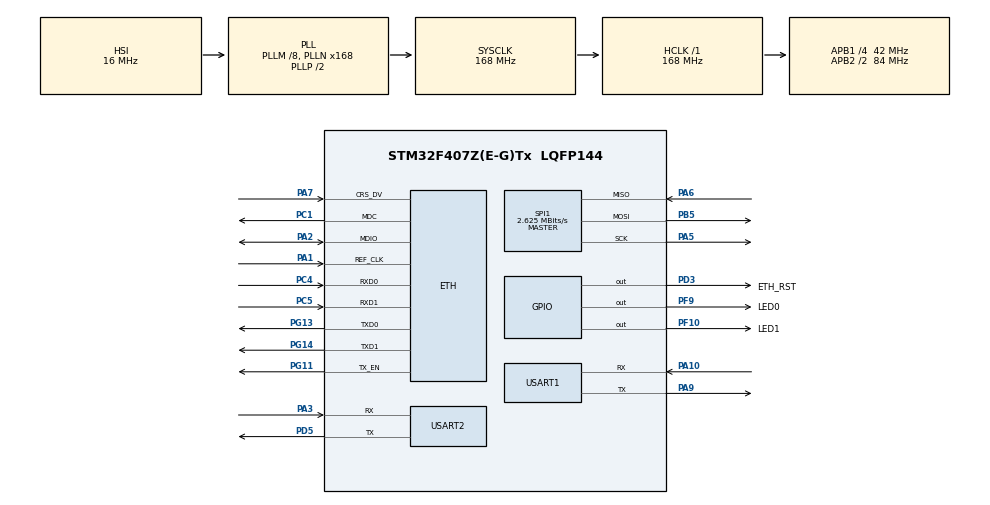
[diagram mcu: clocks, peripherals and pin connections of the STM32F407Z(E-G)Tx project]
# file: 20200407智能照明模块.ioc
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Dma.Request0=USART1_RX
Dma.USART1_RX.0.Direction=DMA_PERIPH_TO_MEMORY
Dma.USART1_RX.0.FIFOMode=DMA_FIFOMODE_DISABLE
Dma.USART1_RX.0.Instance=DMA2_Stream2
Dma.USART1_RX.0.MemDataAlignment=DMA_MDATAALIGN_BYTE
Dma.USART1_RX.0.MemInc=DMA_MINC_ENABLE
Dma.USART1_RX.0.Mode=DMA_NORMAL
Dma.USART1_RX.0.PeriphDataAlignment=DMA_PDATAALIGN_BYTE
Dma.USART1_RX.0.PeriphInc=DMA_PINC_DISABLE
Dma.USART1_RX.0.Priority=DMA_PRIORITY_MEDIUM
ETH.MediaInterface=ETH_MEDIA_INTERFACE_RMII
ETH.PHY_Name_RMII=LAN8742A_PHY_ADDRESS
ETH.PHY_SR=31
ETH.PhyAddress=0
FREERTOS.Tasks01=defaultTask,0,128,StartDefaultTask,Default,NULL
FREERTOS.configMAX_PRIORITIES=32
FREERTOS.configMINIMAL_STACK_SIZE=64
FREERTOS.configTOTAL_HEAP_SIZE=46080
FREERTOS.configUSE_TIMERS=1
IWDG.Prescaler=IWDG_PRESCALER_256
LWIP.GATEWAY_ADDRESS=192.168.001.001
LWIP.IP_ADDRESS=192.168.001.010
LWIP.LWIP_DHCP=0
LWIP.NETMASK_ADDRESS=255.255.255.000
LWIP.TCP_QUEUE_OOSEQ=0
LWIP.Version=v2.0.3_Cube
Mcu.Family=STM32F4
Mcu.Name=STM32F407Z(E-G)Tx
Mcu.Package=LQFP144
NVIC.DMA2_Stream2_IRQn=true\:5\:0\:false\:false\:true\:true\:false\:true
NVIC.ETH_IRQn=true\:5\:0\:false\:false\:true\:true\:true\:true
NVIC.PriorityGroup=NVIC_PRIORITYGROUP_4
NVIC.USART1_IRQn=true\:5\:0\:true\:false\:true\:true\:true\:true
NVIC.USART2_IRQn=true\:5\:0\:true\:false\:true\:true\:true\:true
PA1.Mode=RMII
PA1.Signal=ETH_REF_CLK
PA10.Mode=Asynchronous
PA10.Signal=USART1_RX
PA13.Mode=Serial_Wire
PA13.Signal=SYS_JTMS-SWDIO
PA14.Mode=Serial_Wire
PA14.Signal=SYS_JTCK-SWCLK
PA2.Mode=RMII
PA2.Signal=ETH_MDIO
PA3.Mode=Asynchronous
PA3.Signal=USART2_RX
PA5.Mode=Full_Duplex_Master
PA5.Signal=SPI1_SCK
PA6.Mode=Full_Duplex_Master
PA6.Signal=SPI1_MISO
PA7.Mode=RMII
PA7.Signal=ETH_CRS_DV
PA9.Mode=Asynchronous
PA9.Signal=USART1_TX
PB5.Mode=Full_Duplex_Master
PB5.Signal=SPI1_MOSI
PC1.Mode=RMII
PC1.Signal=ETH_MDC
PC4.Mode=RMII
PC4.Signal=ETH_RXD0
PC5.Mode=RMII
PC5.Signal=ETH_RXD1
PD3.GPIO_Label=ETH_RST
PD3.Signal=GPIO_Output
PD5.Mode=Asynchronous
PD5.Signal=USART2_TX
PF10.GPIO_Label=LED1
PF10.PinState=GPIO_PIN_SET
PF10.Signal=GPIO_Output
PF9.GPIO_Label=LED0
PF9.PinState=GPIO_PIN_SET
PF9.Signal=GPIO_Output
PG11.Mode=RMII
PG11.Signal=ETH_TX_EN
PG13.Mode=RMII
PG13.Signal=ETH_TXD0
PG14.Mode=RMII
PG14.Signal=ETH_TXD1
ProjectManager.HeapSize=0x200
ProjectManager.StackSize=0x400
ProjectManager.TargetToolchain=TrueSTUDIO
RCC.48MHZClocksFreq_Value=84000000
RCC.AHBFreq_Value=168000000
RCC.APB1CLKDivider=RCC_HCLK_DIV4
RCC.APB1Freq_Value=42000000
RCC.APB1TimFreq_Value=84000000
RCC.APB2CLKDivider=RCC_HCLK_DIV2
RCC.APB2Freq_Value=84000000
RCC.APB2TimFreq_Value=168000000
RCC.CortexFreq_Value=168000000
RCC.HCLKFreq_Value=168000000
RCC.HSE_VALUE=25000000
RCC.HSI_VALUE=16000000
RCC.LSE_VALUE=32768
RCC.PLLM=8
RCC.PLLN=168
RCC.RCC_MCO1Source=RCC_MCO1SOURCE_PLLCLK
RCC.RCC_MCODiv1=RCC_MCODIV_2
RCC.SYSCLKFreq_VALUE=168000000
RCC.SYSCLKSource=RCC_SYSCLKSOURCE_PLLCLK
RCC.VCOOutputFreq_Value=336000000
SPI1.BaudRatePrescaler=SPI_BAUDRATEPRESCALER_32
SPI1.CLKPhase=SPI_PHASE_2EDGE
SPI1.CalculateBaudRate=2.625 MBits/s
SPI1.Direction=SPI_DIRECTION_2LINES
SPI1.Mode=SPI_MODE_MASTER
SPI1.VirtualType=VM_MASTER
TIM4.AutoReloadPreload=TIM_AUTORELOAD_PRELOAD_ENABLE
TIM4.Period=1
TIM4.Prescaler=167
TIM5.Prescaler=167
USART1.VirtualMode=VM_ASYNC
USART2.VirtualMode=VM_ASYNC
VP_FREERTOS_VS_CMSIS_V1.Mode=CMSIS_V1
VP_IWDG_VS_IWDG.Mode=IWDG_Activate
VP_LWIP_VS_Enabled.Mode=Enabled
VP_RTC_VS_RTC_Activate.Mode=RTC_Enabled
VP_TIM3_VS_ClockSourceINT.Mode=Internal
VP_TIM4_VS_ClockSourceINT.Mode=Internal
VP_TIM5_VS_ClockSourceINT.Mode=Internal
board=custom

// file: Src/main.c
/* USER CODE BEGIN Header */
/**
  ******************************************************************************
  * @file           : main.c
  * @brief          : Main program body
  ******************************************************************************
  * @attention
  *
  * <h2><center>&copy; Copyright (c) 2020 STMicroelectronics.
  * All rights reserved.</center></h2>
  *
  * This software component is licensed by ST under Ultimate Liberty license
  * SLA0044, the "License"; You may not use this file except in compliance with
  * the License. You may obtain a copy of the License at:
  *                             www.st.com/SLA0044
  *
  ******************************************************************************
  */
/* USER CODE END Header */

#include "main.h"
#include "cmsis_os.h"
#include "dma.h"
#include "iwdg.h"
#include "lwip.h"
#include "rtc.h"
#include "spi.h"
#include "tim.h"
#include "usart.h"
#include "gpio.h"

/* USER CODE BEGIN Includes */
#include "include.h"
/* USER CODE END Includes */

/* USER CODE BEGIN PV */
osThreadId StartTaskHandle;
/* USER CODE END PV */

void SystemClock_Config(void);
void MX_FREERTOS_Init(void);
/* USER CODE BEGIN PFP */
void StartTask(void *pvParameters);   //初始化任务
/* USER CODE END PFP */

int main(void)
{

  /* MCU Configuration--------------------------------------------------------*/

  /* Reset of all peripherals, Initializes the Flash interface and the Systick. */
  HAL_Init();

  /* Configure the system clock */
  SystemClock_Config();

  /* Initialize all configured peripherals */
  MX_GPIO_Init();
  MX_DMA_Init();
  MX_IWDG_Init();
  MX_RTC_Init();
  MX_TIM3_Init();
  MX_TIM4_Init();
  MX_TIM5_Init();
  MX_USART1_UART_Init();
  MX_USART2_UART_Init();
  MX_SPI1_Init();
  /* USER CODE BEGIN 2 */
  printf("FFT测试!\r\n");
  printf("FFT测试!\r\n");
  printf("FFT测试!\r\n");

  usmart_dev.init(83);
  fnDl645Fft_init();
  delay_init();

//  HAL_UART_Receive_IT(&huart1, (uint8_t *)aRxBuffer, RXBUFFERSIZE);//该函数会开启接收中断：标志位UART_IT_RXNE，并且设置接收缓冲以及接收缓冲接收最大数据量
  /* USER CODE END 2 */

  /* Call init function for freertos objects (in freertos.c) */
  MX_FREERTOS_Init();

  /* Start scheduler */
  osKernelStart();

  /* We should never get here as control is now taken by the scheduler */

  /* Infinite loop */
  while (1)
  {

  }
}

void SystemClock_Config(void)
{
  RCC_OscInitTypeDef RCC_OscInitStruct = {0};
  RCC_ClkInitTypeDef RCC_ClkInitStruct = {0};
  RCC_PeriphCLKInitTypeDef PeriphClkInitStruct = {0};

  /** Configure the main internal regulator output voltage
  */
  __HAL_RCC_PWR_CLK_ENABLE();
  __HAL_PWR_VOLTAGESCALING_CONFIG(PWR_REGULATOR_VOLTAGE_SCALE1);
  /** Initializes the CPU, AHB and APB busses clocks
  */
  RCC_OscInitStruct.OscillatorType = RCC_OSCILLATORTYPE_HSI|RCC_OSCILLATORTYPE_LSI;
  RCC_OscInitStruct.HSIState = RCC_HSI_ON;
  RCC_OscInitStruct.HSICalibrationValue = RCC_HSICALIBRATION_DEFAULT;
  RCC_OscInitStruct.LSIState = RCC_LSI_ON;
  RCC_OscInitStruct.PLL.PLLState = RCC_PLL_ON;
  RCC_OscInitStruct.PLL.PLLSource = RCC_PLLSOURCE_HSI;
  RCC_OscInitStruct.PLL.PLLM = 8;
  RCC_OscInitStruct.PLL.PLLN = 168;
  RCC_OscInitStruct.PLL.PLLP = RCC_PLLP_DIV2;
  RCC_OscInitStruct.PLL.PLLQ = 4;
  if (HAL_RCC_OscConfig(&RCC_OscInitStruct) != HAL_OK)
  {
    Error_Handler();
  }
  /** Initializes the CPU, AHB and APB busses clocks
  */
  RCC_ClkInitStruct.ClockType = RCC_CLOCKTYPE_HCLK|RCC_CLOCKTYPE_SYSCLK
                              |RCC_CLOCKTYPE_PCLK1|RCC_CLOCKTYPE_PCLK2;
  RCC_ClkInitStruct.SYSCLKSource = RCC_SYSCLKSOURCE_PLLCLK;
  RCC_ClkInitStruct.AHBCLKDivider = RCC_SYSCLK_DIV1;
  RCC_ClkInitStruct.APB1CLKDivider = RCC_HCLK_DIV4;
  RCC_ClkInitStruct.APB2CLKDivider = RCC_HCLK_DIV2;

  if (HAL_RCC_ClockConfig(&RCC_ClkInitStruct, FLASH_LATENCY_5) != HAL_OK)
  {
    Error_Handler();
  }
  PeriphClkInitStruct.PeriphClockSelection = RCC_PERIPHCLK_RTC;
  PeriphClkInitStruct.RTCClockSelection = RCC_RTCCLKSOURCE_LSI;
  if (HAL_RCCEx_PeriphCLKConfig(&PeriphClkInitStruct) != HAL_OK)
  {
    Error_Handler();
  }
}

/* USER CODE BEGIN 4 */
uint8_t LED(uint8_t temp1,uint8_t temp2,uint8_t temp3)
{
	HAL_GPIO_TogglePin(LED1_GPIO_Port,LED1_Pin);
	delay_ms(50);
    uint8_t res=11;
    printf("%d\r\n",temp1);
    printf("%d\r\n",temp2);
    printf("%d\r\n",temp3);
    return res;
}
/* USER CODE END 4 */

void Error_Handler(void)
{
}

/************************ (C) COPYRIGHT STMicroelectronics *****END OF FILE****/

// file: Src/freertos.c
/* USER CODE BEGIN Header */
/**
  ******************************************************************************
  * File Name          : freertos.c
  * Description        : Code for freertos applications
  ******************************************************************************
  * @attention
  *
  * <h2><center>&copy; Copyright (c) 2020 STMicroelectronics.
  * All rights reserved.</center></h2>
  *
  * This software component is licensed by ST under Ultimate Liberty license
  * SLA0044, the "License"; You may not use this file except in compliance with
  * the License. You may obtain a copy of the License at:
  *                             www.st.com/SLA0044
  *
  ******************************************************************************
  */
/* USER CODE END Header */

#include "FreeRTOS.h"
#include "task.h"
#include "main.h"
#include "cmsis_os.h"

/* USER CODE BEGIN Includes */
#include "include.h"
/* USER CODE END Includes */

/* USER CODE BEGIN Variables */
osThreadId StartTaskHandle;
osThreadId EthTaskHandle;
QueueHandle_t Test_Queue;

char Test_RX[50];
/* USER CODE END Variables */
osThreadId defaultTaskHandle;

/* USER CODE BEGIN FunctionPrototypes */
void StartTask(void *pvParameters);   //初始化任务
void ETHTask(void const * argument);
/* USER CODE END FunctionPrototypes */

void StartDefaultTask(void const * argument);

extern void MX_LWIP_Init(void);
void MX_FREERTOS_Init(void); /* (MISRA C 2004 rule 8.1) */

void MX_FREERTOS_Init(void) {

  /* USER CODE BEGIN RTOS_QUEUES */
  /* add queues, ... */
  Test_Queue=xQueueCreate(50,1);
  /* USER CODE END RTOS_QUEUES */

  /* Create the thread(s) */
  /* definition and creation of defaultTask */
  osThreadDef(defaultTask, StartDefaultTask, osPriorityNormal, 0, 128);
  defaultTaskHandle = osThreadCreate(osThread(defaultTask), NULL);

  /* USER CODE BEGIN RTOS_THREADS */
  /* add threads, ... */
  osThreadDef(startTask, StartTask, osPriorityNormal, 1, 1024);
  StartTaskHandle = osThreadCreate(osThread(startTask), NULL);

  osThreadDef(EthTask, ETHTask, osPriorityNormal, 2, 8192);
  EthTaskHandle = osThreadCreate(osThread(EthTask), NULL);
  /* USER CODE END RTOS_THREADS */

}

void StartDefaultTask(void const * argument)
{
  /* init code for LWIP */
  MX_LWIP_Init();
  lwip_test_init();
  lwip_tcp_server_test_init();
  lwip_tcp_client_init();
  httpd_init();

  /* USER CODE BEGIN StartDefaultTask */
  /* Infinite loop */
  for(;;)
  {
    HAL_IWDG_Refresh(&hiwdg);
//    HAL_GPIO_TogglePin(LED0_GPIO_Port,LED0_Pin);
    osDelay(50);
  }
  /* USER CODE END StartDefaultTask */
}

/* USER CODE BEGIN Application */
void StartTask(void *pvParameters)
{

  /* USER CODE BEGIN StartDefaultTask */
  /* Infinite loop */
  for (;;) {
    osDelay(1000);
//    usmart_scan();
//    Fft_Harmonic_Exec();
    HAL_GPIO_TogglePin(LED0_GPIO_Port,LED0_Pin);

    if(Test_Queue!=NULL)
	   {
		   if(xQueueReceive(Test_Queue,&Test_RX,0))//请求消息Key_Queue
		   {
	         HAL_UART_Transmit(&huart1, (uint8_t*)Test_RX, 50,1000);
		   }
	   }
//    printf("未找到匹配的函数!\r\n");
  }
  /* USER CODE END StartDefaultTask */
}

void ETHTask(void const * argument)
{
  /* USER CODE BEGIN taskTcpEcho */

  for (;;) {
//   HAL_GPIO_TogglePin(LED0_GPIO_Port,LED0_Pin);
//   lwip_periodic_handle();
//   lwip_test_init();
   osDelay(1000);
 }
  /* USER CODE END taskTcpEcho */
}
/* USER CODE END Application */

/************************ (C) COPYRIGHT STMicroelectronics *****END OF FILE****/
